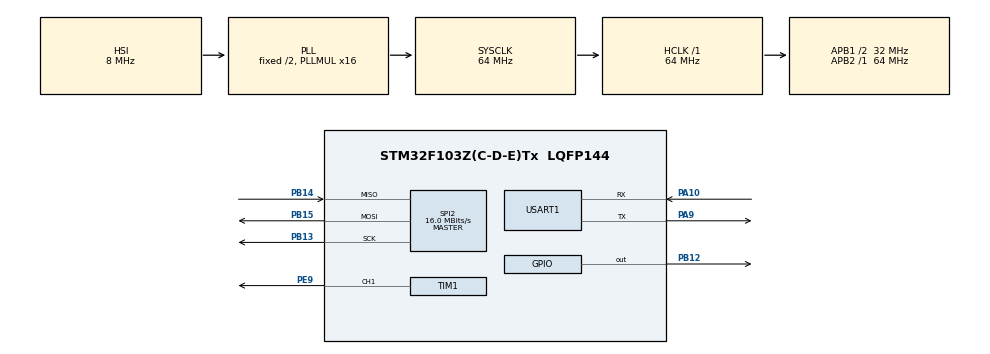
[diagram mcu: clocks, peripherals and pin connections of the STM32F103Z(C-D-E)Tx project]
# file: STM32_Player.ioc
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Mcu.Family=STM32F1
Mcu.Name=STM32F103Z(C-D-E)Tx
Mcu.Package=LQFP144
NVIC.PriorityGroup=NVIC_PRIORITYGROUP_4
NVIC.TIM2_IRQn=true\:0\:0\:false\:false\:true\:true\:true\:true
NVIC.USART1_IRQn=true\:0\:0\:false\:false\:true\:true\:true\:true
PA10.Mode=Asynchronous
PA10.Signal=USART1_RX
PA9.Mode=Asynchronous
PA9.Signal=USART1_TX
PB12.Signal=GPIO_Output
PB13.Mode=Full_Duplex_Master
PB13.Signal=SPI2_SCK
PB14.Mode=Full_Duplex_Master
PB14.Signal=SPI2_MISO
PB15.Mode=Full_Duplex_Master
PB15.Signal=SPI2_MOSI
PE9.Signal=S_TIM1_CH1
ProjectManager.HeapSize=0x200
ProjectManager.StackSize=0x400
ProjectManager.TargetToolchain=Makefile
RCC.AHBFreq_Value=64000000
RCC.APB1CLKDivider=RCC_HCLK_DIV2
RCC.APB1Freq_Value=32000000
RCC.APB1TimFreq_Value=64000000
RCC.APB2Freq_Value=64000000
RCC.APB2TimFreq_Value=64000000
RCC.HCLKFreq_Value=64000000
RCC.PLLMUL=RCC_PLL_MUL16
RCC.SYSCLKFreq_VALUE=64000000
RCC.SYSCLKSource=RCC_SYSCLKSOURCE_PLLCLK
RCC.USBFreq_Value=64000000
SH.S_TIM1_CH1.0=TIM1_CH1,PWM Generation1 CH1
SPI2.CalculateBaudRate=16.0 MBits/s
SPI2.Direction=SPI_DIRECTION_2LINES
SPI2.Mode=SPI_MODE_MASTER
SPI2.VirtualType=VM_MASTER
TIM1.Channel-PWM\ Generation1\ CH1=TIM_CHANNEL_1
TIM1.Period=4096
TIM1.Pulse-PWM\ Generation1\ CH1=2333
TIM2.Channel-Output\ Compare1\ No\ Output=TIM_CHANNEL_1
TIM2.Period=4096
TIM2.Prescaler=0
USART1.VirtualMode=VM_ASYNC
VP_SYS_VS_ND.Mode=No_Debug
VP_TIM2_VS_no_output1.Mode=Output Compare1 No Output
board=custom

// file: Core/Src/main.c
/* USER CODE BEGIN Header */
/**
  ******************************************************************************
  * @file           : main.c
  * @brief          : Main program body
  ******************************************************************************
  * @attention
  *
  * Copyright (c) 2026 STMicroelectronics.
  * All rights reserved.
  *
  * This software is licensed under terms that can be found in the LICENSE file
  * in the root directory of this software component.
  * If no LICENSE file comes with this software, it is provided AS-IS.
  *
  ******************************************************************************
  */
/* USER CODE END Header */
#include "main.h"

/* USER CODE BEGIN Includes */
#include "mylib233.h"
/* USER CODE END Includes */

SPI_HandleTypeDef hspi2;

TIM_HandleTypeDef htim1;
TIM_HandleTypeDef htim2;

UART_HandleTypeDef huart1;

void SystemClock_Config(void);
static void MX_GPIO_Init(void);
static void MX_TIM1_Init(void);
static void MX_USART1_UART_Init(void);
static void MX_TIM2_Init(void);
static void MX_SPI2_Init(void);

int main(void)
{

  /* MCU Configuration--------------------------------------------------------*/

  /* Reset of all peripherals, Initializes the Flash interface and the Systick. */
  HAL_Init();

  /* Configure the system clock */
  SystemClock_Config();

  /* Initialize all configured peripherals */
  MX_GPIO_Init();
  MX_TIM1_Init();
  MX_USART1_UART_Init();
  MX_TIM2_Init();
  MX_SPI2_Init();
  /* USER CODE BEGIN 2 */
  HAL_UART_Receive_IT(&huart1, (uint8_t*)UART_Recieve_Buffer, 1024);
  HAL_TIM_PWM_Start(&htim1, TIM_CHANNEL_1); // Start PWM on channel 1
  HAL_TIM_Base_Start_IT(&htim2);
  DbgPrint("Hello From STM32\r\n");
  // reset SPI flash
  Quick_Write_GPIO_Pin(GPIOB, GPIO_PIN_12, 1);
  HAL_Delay(100);
  Quick_Write_GPIO_Pin(GPIOB, GPIO_PIN_12, 0);
  HAL_Delay(100);
  // prepare read from SPI flash, addr 0
  HAL_SPI_Transmit(&hspi2, "\x03\x00\x00\x00", 4, 1000);
  // play DTMF from SPI flash
  while (1)
  {
    while (locked) HAL_Delay(100); // Wait here if locked
    HAL_SPI_Receive(&hspi2, (uint8_t*)dtmf_freq, 4, 1000);
    DbgPrint("Playing DTMF from SPI: %hu Hz, %hu Hz\n", dtmf_freq[0], dtmf_freq[1]);
    if (dtmf_freq[0] == 0xffff && dtmf_freq[1] == 0xffff)
    {
      DbgPrint("End of DTMF playback\n");
      dtmf_freq[0] = 440; dtmf_freq[1] = 660;
      break; // Exit the loop if both frequencies are zero
    }
    HAL_Delay(40);
  }
  /* USER CODE END 2 */

  /* Infinite loop */
  while (1)
  {

    /* USER CODE BEGIN 3 */
    HAL_Delay(1000);
  }
  /* USER CODE END 3 */
}

void SystemClock_Config(void)
{
  RCC_OscInitTypeDef RCC_OscInitStruct = {0};
  RCC_ClkInitTypeDef RCC_ClkInitStruct = {0};

  /** Initializes the RCC Oscillators according to the specified parameters
  * in the RCC_OscInitTypeDef structure.
  */
  RCC_OscInitStruct.OscillatorType = RCC_OSCILLATORTYPE_HSI;
  RCC_OscInitStruct.HSIState = RCC_HSI_ON;
  RCC_OscInitStruct.HSICalibrationValue = RCC_HSICALIBRATION_DEFAULT;
  RCC_OscInitStruct.PLL.PLLState = RCC_PLL_ON;
  RCC_OscInitStruct.PLL.PLLSource = RCC_PLLSOURCE_HSI_DIV2;
  RCC_OscInitStruct.PLL.PLLMUL = RCC_PLL_MUL16;
  if (HAL_RCC_OscConfig(&RCC_OscInitStruct) != HAL_OK)
  {
    Error_Handler();
  }

  /** Initializes the CPU, AHB and APB buses clocks
  */
  RCC_ClkInitStruct.ClockType = RCC_CLOCKTYPE_HCLK|RCC_CLOCKTYPE_SYSCLK
                              |RCC_CLOCKTYPE_PCLK1|RCC_CLOCKTYPE_PCLK2;
  RCC_ClkInitStruct.SYSCLKSource = RCC_SYSCLKSOURCE_PLLCLK;
  RCC_ClkInitStruct.AHBCLKDivider = RCC_SYSCLK_DIV1;
  RCC_ClkInitStruct.APB1CLKDivider = RCC_HCLK_DIV2;
  RCC_ClkInitStruct.APB2CLKDivider = RCC_HCLK_DIV1;

  if (HAL_RCC_ClockConfig(&RCC_ClkInitStruct, FLASH_LATENCY_2) != HAL_OK)
  {
    Error_Handler();
  }
}

static void MX_SPI2_Init(void)
{

  /* SPI2 parameter configuration*/
  hspi2.Instance = SPI2;
  hspi2.Init.Mode = SPI_MODE_MASTER;
  hspi2.Init.Direction = SPI_DIRECTION_2LINES;
  hspi2.Init.DataSize = SPI_DATASIZE_8BIT;
  hspi2.Init.CLKPolarity = SPI_POLARITY_LOW;
  hspi2.Init.CLKPhase = SPI_PHASE_1EDGE;
  hspi2.Init.NSS = SPI_NSS_SOFT;
  hspi2.Init.BaudRatePrescaler = SPI_BAUDRATEPRESCALER_2;
  hspi2.Init.FirstBit = SPI_FIRSTBIT_MSB;
  hspi2.Init.TIMode = SPI_TIMODE_DISABLE;
  hspi2.Init.CRCCalculation = SPI_CRCCALCULATION_DISABLE;
  hspi2.Init.CRCPolynomial = 10;
  if (HAL_SPI_Init(&hspi2) != HAL_OK)
  {
    Error_Handler();
  }

}

static void MX_TIM1_Init(void)
{

  TIM_MasterConfigTypeDef sMasterConfig = {0};
  TIM_OC_InitTypeDef sConfigOC = {0};
  TIM_BreakDeadTimeConfigTypeDef sBreakDeadTimeConfig = {0};

  htim1.Instance = TIM1;
  htim1.Init.Prescaler = 0;
  htim1.Init.CounterMode = TIM_COUNTERMODE_UP;
  htim1.Init.Period = 4096;
  htim1.Init.ClockDivision = TIM_CLOCKDIVISION_DIV1;
  htim1.Init.RepetitionCounter = 0;
  htim1.Init.AutoReloadPreload = TIM_AUTORELOAD_PRELOAD_DISABLE;
  if (HAL_TIM_PWM_Init(&htim1) != HAL_OK)
  {
    Error_Handler();
  }
  sMasterConfig.MasterOutputTrigger = TIM_TRGO_RESET;
  sMasterConfig.MasterSlaveMode = TIM_MASTERSLAVEMODE_DISABLE;
  if (HAL_TIMEx_MasterConfigSynchronization(&htim1, &sMasterConfig) != HAL_OK)
  {
    Error_Handler();
  }
  sConfigOC.OCMode = TIM_OCMODE_PWM1;
  sConfigOC.Pulse = 2333;
  sConfigOC.OCPolarity = TIM_OCPOLARITY_HIGH;
  sConfigOC.OCNPolarity = TIM_OCNPOLARITY_HIGH;
  sConfigOC.OCFastMode = TIM_OCFAST_DISABLE;
  sConfigOC.OCIdleState = TIM_OCIDLESTATE_RESET;
  sConfigOC.OCNIdleState = TIM_OCNIDLESTATE_RESET;
  if (HAL_TIM_PWM_ConfigChannel(&htim1, &sConfigOC, TIM_CHANNEL_1) != HAL_OK)
  {
    Error_Handler();
  }
  sBreakDeadTimeConfig.OffStateRunMode = TIM_OSSR_DISABLE;
  sBreakDeadTimeConfig.OffStateIDLEMode = TIM_OSSI_DISABLE;
  sBreakDeadTimeConfig.LockLevel = TIM_LOCKLEVEL_OFF;
  sBreakDeadTimeConfig.DeadTime = 0;
  sBreakDeadTimeConfig.BreakState = TIM_BREAK_DISABLE;
  sBreakDeadTimeConfig.BreakPolarity = TIM_BREAKPOLARITY_HIGH;
  sBreakDeadTimeConfig.AutomaticOutput = TIM_AUTOMATICOUTPUT_DISABLE;
  if (HAL_TIMEx_ConfigBreakDeadTime(&htim1, &sBreakDeadTimeConfig) != HAL_OK)
  {
    Error_Handler();
  }
  HAL_TIM_MspPostInit(&htim1);

}

static void MX_TIM2_Init(void)
{

  TIM_MasterConfigTypeDef sMasterConfig = {0};
  TIM_OC_InitTypeDef sConfigOC = {0};

  htim2.Instance = TIM2;
  htim2.Init.Prescaler = 0;
  htim2.Init.CounterMode = TIM_COUNTERMODE_UP;
  htim2.Init.Period = 4096;
  htim2.Init.ClockDivision = TIM_CLOCKDIVISION_DIV1;
  htim2.Init.AutoReloadPreload = TIM_AUTORELOAD_PRELOAD_DISABLE;
  if (HAL_TIM_OC_Init(&htim2) != HAL_OK)
  {
    Error_Handler();
  }
  sMasterConfig.MasterOutputTrigger = TIM_TRGO_RESET;
  sMasterConfig.MasterSlaveMode = TIM_MASTERSLAVEMODE_DISABLE;
  if (HAL_TIMEx_MasterConfigSynchronization(&htim2, &sMasterConfig) != HAL_OK)
  {
    Error_Handler();
  }
  sConfigOC.OCMode = TIM_OCMODE_TIMING;
  sConfigOC.Pulse = 0;
  sConfigOC.OCPolarity = TIM_OCPOLARITY_HIGH;
  sConfigOC.OCFastMode = TIM_OCFAST_DISABLE;
  if (HAL_TIM_OC_ConfigChannel(&htim2, &sConfigOC, TIM_CHANNEL_1) != HAL_OK)
  {
    Error_Handler();
  }

}

static void MX_USART1_UART_Init(void)
{

  huart1.Instance = USART1;
  huart1.Init.BaudRate = 115200;
  huart1.Init.WordLength = UART_WORDLENGTH_8B;
  huart1.Init.StopBits = UART_STOPBITS_1;
  huart1.Init.Parity = UART_PARITY_NONE;
  huart1.Init.Mode = UART_MODE_TX_RX;
  huart1.Init.HwFlowCtl = UART_HWCONTROL_NONE;
  huart1.Init.OverSampling = UART_OVERSAMPLING_16;
  if (HAL_UART_Init(&huart1) != HAL_OK)
  {
    Error_Handler();
  }

}

static void MX_GPIO_Init(void)
{
  GPIO_InitTypeDef GPIO_InitStruct = {0};

  /* GPIO Ports Clock Enable */
  __HAL_RCC_GPIOE_CLK_ENABLE();
  __HAL_RCC_GPIOB_CLK_ENABLE();
  __HAL_RCC_GPIOA_CLK_ENABLE();

  /*Configure GPIO pin Output Level */
  HAL_GPIO_WritePin(GPIOB, GPIO_PIN_12, GPIO_PIN_RESET);

  /*Configure GPIO pin : PB12 */
  GPIO_InitStruct.Pin = GPIO_PIN_12;
  GPIO_InitStruct.Mode = GPIO_MODE_OUTPUT_PP;
  GPIO_InitStruct.Pull = GPIO_NOPULL;
  GPIO_InitStruct.Speed = GPIO_SPEED_FREQ_LOW;
  HAL_GPIO_Init(GPIOB, &GPIO_InitStruct);

}

void Error_Handler(void)
{
  __disable_irq();
  while (1)
  {
  }
}
